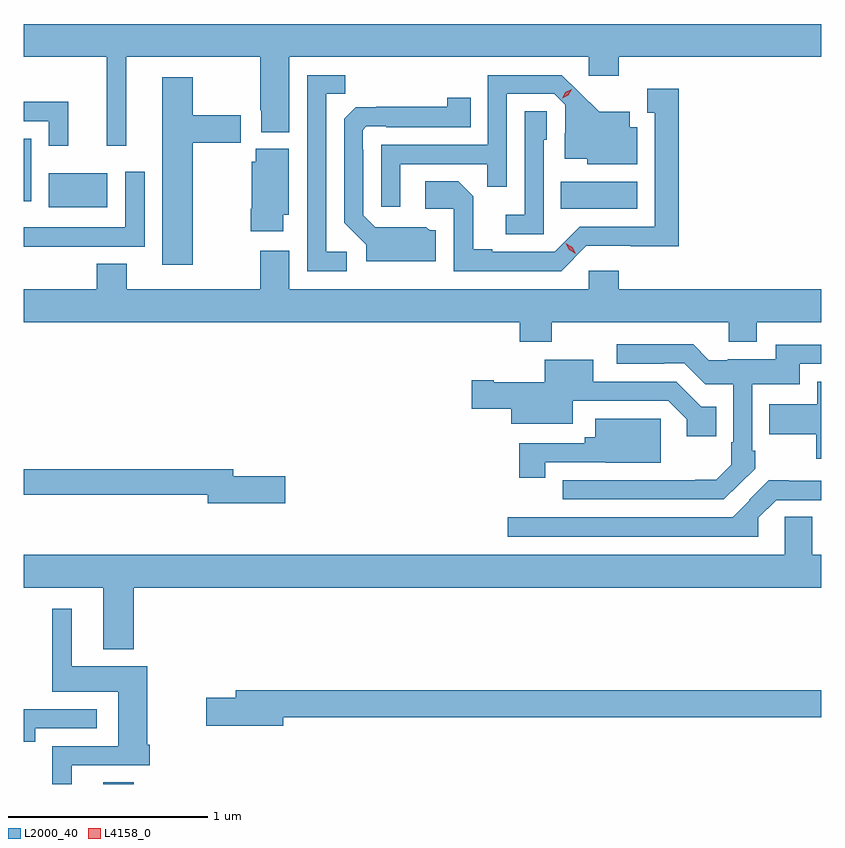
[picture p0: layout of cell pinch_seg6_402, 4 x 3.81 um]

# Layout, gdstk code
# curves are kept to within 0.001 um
import gdstk
lib = gdstk.Library(unit=1e-6, precision=1e-09)
def R(c, l, rs):  # rectangles x0, y0, x1, y1
    for r in rs: c.add(gdstk.rectangle(r[:2], r[2:], *l))
def P(c, l, *ps):  # polygons
    for p in ps: c.add(gdstk.Polygon(p, *l))
L2000_40 = (2000, 40)
L4158_0 = (4158, 0)

pinch_seg6_402 = lib.new_cell('pinch_seg6_402')
R(pinch_seg6_402, L2000_40, [(663.209,921.042,663.362,921.05), (665.506,923.93,665.89,924.064), (662.936,923.936,663.229,924.106), (662.812,923.966,662.848,924.28)])
P(pinch_seg6_402, L2000_40, [(663.326,924.692),(663.997,924.692),(663.997,924.424),(664.004,924.424),(664.004,924.314),(664.144,924.314),(664.144,924.692),(665.646,924.692),(665.646,924.597),(665.798,924.597),(665.798,924.692),(666.812,924.692),(666.812,924.856),(662.812,924.856),(662.812,924.692),(663.227,924.692),(663.227,924.246),(663.326,924.246)],
  [(664.701,924.153),(665.137,924.153),(665.137,924.04),(665.235,924.04),(665.235,924.507),(665.472,924.507),(665.529,924.45),(665.529,924.308),(665.525,924.308),(665.525,924.179),(665.64,924.179),(665.64,924.152),(665.89,924.152),(665.89,924.339),(665.851,924.339),(665.851,924.415),(665.699,924.415),(665.512,924.6),(665.139,924.6),(665.139,924.249),(664.605,924.249),(664.605,923.94),(664.701,923.94)],
  [(664.432,923.712),(664.329,923.712),(664.329,924.505),(664.425,924.505),(664.425,924.6),(664.233,924.6),(664.233,923.616),(664.432,923.616)],
  [(663.66,924.259),(663.901,924.259),(663.901,924.399),(663.66,924.399),(663.66,924.589),(663.506,924.589),(663.506,923.649),(663.66,923.649)],
  [(665.634,923.742),(666.097,923.741),(666.097,924.532),(665.939,924.532),(665.939,924.411),(665.978,924.411),(665.978,923.838),(665.601,923.838),(665.475,923.712),(665.161,923.712),(665.161,923.725),(665.067,923.725),(665.067,923.992),(664.991,924.068),(664.827,924.068),(664.827,923.928),(664.968,923.928),(664.968,923.616),(665.508,923.616)],
  [(664.879,923.82),(664.848,923.82),(664.832,923.836),(664.575,923.835),(664.515,923.895),(664.515,924.224),(664.512,924.224),(664.512,924.324),(664.53,924.342),(664.63,924.342),(664.63,924.339),(665.054,924.339),(665.054,924.487),(664.936,924.487),(664.936,924.44),(664.478,924.439),(664.419,924.38),(664.419,923.858),(664.529,923.748),(664.529,923.666),(664.879,923.666)],
  [(663.035,924.465),(662.812,924.465),(662.812,924.369),(662.937,924.369),(662.937,924.246),(663.035,924.246)],
  [(665.421,924.276),(665.436,924.276),(665.436,924.419),(665.325,924.419),(665.325,923.899),(665.229,923.899),(665.229,923.802),(665.421,923.802)],
  [(664.114,923.898),(664.141,923.898),(664.141,924.229),(663.976,924.229),(663.976,924.165),(663.956,924.165),(663.956,923.929),(663.949,923.929),(663.949,923.817),(664.114,923.817)],
  [(663.092,923.739),(663.417,923.739),(663.417,924.115),(663.321,924.115),(663.321,923.835),(662.812,923.835),(662.812,923.738),(663.092,923.738)],
  [(665.46,923.36),(666.35,923.36),(666.35,923.261),(666.49,923.261),(666.49,923.36),(666.812,923.36),(666.812,923.524),(665.798,923.524),(665.798,923.617),(665.646,923.617),(665.646,923.524),(664.144,923.524),(664.144,923.719),(663.997,923.719),(663.997,923.524),(663.328,923.524),(663.328,923.654),(663.176,923.654),(663.176,923.524),(662.812,923.524),(662.812,923.36),(665.3,923.36),(665.3,923.261),(665.46,923.261)],
  [(666.481,922.625),(666.481,922.714),(666.468,922.714),(666.468,923.048),(666.706,923.048),(666.706,923.151),(666.812,923.151),(666.812,923.247),(666.584,923.247),(666.584,923.173),(666.343,923.173),(666.343,923.169),(666.249,923.169),(666.17,923.248),(665.787,923.248),(665.787,923.151),(666.026,923.151),(666.026,923.154),(666.126,923.154),(666.231,923.049),(666.372,923.049),(666.372,922.756),(666.362,922.756),(666.362,922.644),(666.286,922.569),(666.182,922.569),(666.182,922.566),(665.517,922.566),(665.517,922.47),(666.325,922.47)],
  [(666.287,922.936),(666.21,922.936),(666.085,923.061),(665.668,923.061),(665.668,923.17),(665.426,923.17),(665.426,923.059),(665.17,923.059),(665.17,923.067),(665.058,923.067),(665.058,922.925),(665.258,922.925),(665.258,922.85),(665.566,922.85),(665.566,922.965),(666.045,922.965),(666.137,922.873),(666.137,922.788),(666.287,922.788)],
  [(666.812,923.061),(666.794,923.061),(666.794,922.948),(666.553,922.948),(666.553,922.796),(666.787,922.796),(666.787,922.674),(666.812,922.674)],
  [(665.428,922.656),(665.731,922.656),(665.731,922.655),(666.007,922.655),(666.007,922.876),(665.678,922.876),(665.678,922.783),(665.627,922.783),(665.627,922.752),(665.298,922.752),(665.298,922.578),(665.428,922.578)],
  [(664.123,922.586),(663.862,922.586),(663.862,922.622),(662.812,922.622),(662.812,922.494),(663.734,922.494),(663.734,922.451),(664.123,922.451)],
  [(666.498,922.377),(666.588,922.467),(666.812,922.467),(666.812,922.563),(666.649,922.563),(666.649,922.566),(666.549,922.566),(666.451,922.468),(666.454,922.465),(666.369,922.38),(665.241,922.38),(665.241,922.284),(666.498,922.284)],
  [(663.362,922.028),(666.812,922.028),(666.812,922.192),(666.769,922.192),(666.769,922.382),(666.63,922.382),(666.63,922.192),(662.812,922.192),(662.812,922.028),(663.209,922.028),(663.209,921.719),(663.362,921.719)],
  [(663.052,921.135),(663.443,921.135),(663.443,921.238),(663.43,921.238),(663.43,921.634),(663.052,921.634),(663.052,921.922),(662.954,921.922),(662.954,921.506),(663.284,921.506),(663.284,921.231),(662.954,921.231),(662.954,921.042),(663.052,921.042)],
  [(664.114,921.376),(666.812,921.376),(666.812,921.512),(663.875,921.512),(663.875,921.476),(663.726,921.476),(663.726,921.334),(664.114,921.334)],
  [(662.869,921.321),(663.178,921.321),(663.178,921.417),(662.865,921.417),(662.865,921.418),(662.812,921.418),(662.812,921.253),(662.869,921.253)])
P(pinch_seg6_402, L4158_0, [(665.581,923.704),(665.549,923.723),(665.532,923.755),(665.532,923.755),(665.532,923.755),(665.564,923.736),(665.581,923.704),(665.581,923.704)],
  [(665.513,924.483),(665.513,924.483),(665.529,924.513),(665.56,924.529),(665.56,924.529),(665.56,924.528),(665.544,924.498),(665.514,924.483)])

lib.write_gds('pinch_seg6_402.gds')
